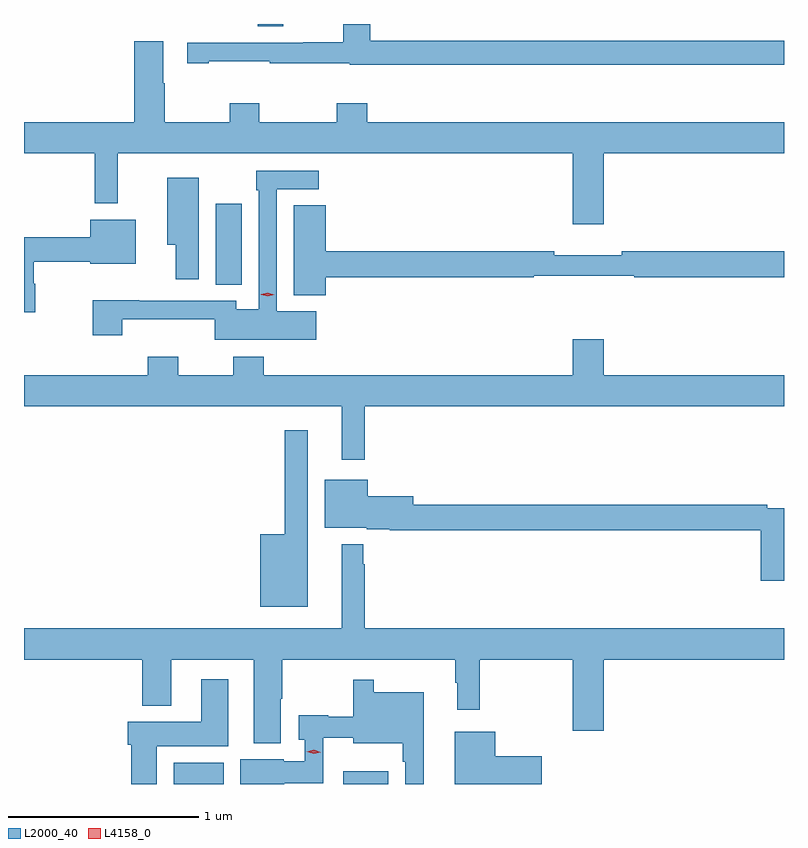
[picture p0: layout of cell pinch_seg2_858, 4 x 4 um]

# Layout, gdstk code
import gdstk
lib = gdstk.Library(unit=1e-6, precision=1e-09)
def R(c, l, rs):  # rectangles x0, y0, x1, y1
    for r in rs: c.add(gdstk.rectangle(r[:2], r[2:], *l))
def P(c, l, *ps):  # polygons
    for p in ps: c.add(gdstk.Polygon(p, *l))
L2000_40 = (2000, 40)
L4158_0 = (4158, 0)

pinch_seg2_858 = lib.new_cell('pinch_seg2_858')
R(pinch_seg2_858, L2000_40, [(486.584,601.693,486.847,601.804), (487.478,601.693,487.714,601.759), (486.806,604.321,486.943,604.747), (487.028,605.68,487.162,605.693)])
P(pinch_seg2_858, L2000_40, [(489.797,605.606),(487.619,605.606),(487.619,605.693),(487.476,605.693),(487.476,605.596),(487.266,605.596),(487.266,605.595),(486.657,605.595),(486.657,605.487),(486.769,605.487),(486.769,605.497),(487.091,605.497),(487.091,605.487),(487.512,605.487),(487.512,605.478),(489.797,605.478)],
  [(488.848,605.012),(489.797,605.012),(489.797,605.176),(487.604,605.176),(487.604,605.275),(487.444,605.275),(487.444,605.176),(487.035,605.176),(487.035,605.275),(486.88,605.275),(486.88,605.176),(486.537,605.176),(486.537,605.381),(486.529,605.381),(486.529,605.602),(486.377,605.602),(486.377,605.176),(485.797,605.176),(485.797,605.012),(486.169,605.012),(486.169,604.749),(486.29,604.749),(486.29,605.012),(488.684,605.012),(488.684,604.638),(488.848,604.638)],
  [(487.336,604.18),(487.128,604.18),(487.128,604.824),(487.348,604.824),(487.348,604.92),(487.02,604.92),(487.02,604.817),(487.032,604.817),(487.032,604.192),(486.913,604.192),(486.913,604.236),(486.403,604.236),(486.403,604.238),(486.16,604.238),(486.16,604.056),(486.315,604.056),(486.315,604.139),(486.8,604.139),(486.8,604.031),(487.336,604.031)],
  [(486.718,604.885),(486.551,604.885),(486.551,604.532),(486.596,604.532),(486.596,604.35),(486.718,604.35)],
  [(487.384,604.36),(488.48,604.36),(488.48,604.368),(489.009,604.368),(489.009,604.36),(489.797,604.36),(489.797,604.496),(488.944,604.496),(488.944,604.477),(488.588,604.477),(488.588,604.496),(487.384,604.496),(487.384,604.739),(487.217,604.739),(487.217,604.265),(487.384,604.265)],
  [(485.856,604.326),(485.848,604.326),(485.848,604.441),(486.146,604.441),(486.146,604.43),(486.385,604.43),(486.385,604.663),(486.146,604.663),(486.146,604.57),(485.797,604.57),(485.797,604.176),(485.856,604.176)],
  [(487.591,603.68),(489.797,603.68),(489.797,603.844),(488.848,603.844),(488.848,604.033),(488.684,604.033),(488.684,603.844),(487.058,603.844),(487.058,603.943),(486.898,603.943),(486.898,603.844),(486.609,603.844),(486.609,603.943),(486.449,603.943),(486.449,603.844),(485.797,603.844),(485.797,603.68),(487.469,603.68),(487.469,603.399),(487.591,603.399)],
  [(487.291,603.556),(487.17,603.556),(487.17,603.007),(487.04,603.007),(487.04,602.627),(487.291,602.627)],
  [(489.797,603.144),(489.71,603.144),(489.71,603.164),(487.846,603.164),(487.846,603.207),(487.606,603.207),(487.606,603.295),(487.379,603.295),(487.379,603.041),(487.602,603.041),(487.602,603.035),(487.721,603.035),(487.721,603.028),(489.674,603.028),(489.674,602.763),(489.797,602.763)],
  [(487.591,602.849),(487.583,602.849),(487.583,602.956),(487.469,602.956),(487.469,602.512),(485.797,602.512),(485.797,602.348),(486.419,602.348),(486.419,602.105),(486.571,602.105),(486.571,602.348),(487.007,602.348),(487.007,601.907),(487.147,601.907),(487.147,602.143),(487.155,602.143),(487.155,602.348),(488.067,602.348),(488.067,602.225),(488.078,602.225),(488.078,602.085),(488.195,602.085),(488.195,602.348),(488.684,602.348),(488.684,601.974),(488.848,601.974),(488.848,602.348),(489.797,602.348),(489.797,602.512),(487.591,602.512)],
  [(486.496,601.892),(486.871,601.892),(486.871,602.245),(486.731,602.245),(486.731,602.02),(486.344,602.02),(486.344,601.899),(486.362,601.899),(486.362,601.693),(486.496,601.693)],
  [(487.168,601.696),(487.371,601.696),(487.371,601.937),(487.529,601.937),(487.529,601.907),(487.791,601.907),(487.791,601.811),(487.803,601.811),(487.803,601.693),(487.9,601.693),(487.9,602.176),(487.639,602.176),(487.639,602.242),(487.529,602.242),(487.529,602.047),(487.398,602.047),(487.398,602.055),(487.244,602.055),(487.244,601.925),(487.275,601.925),(487.275,601.812),(487.164,601.812),(487.164,601.822),(486.935,601.822),(486.935,601.693),(487.168,601.693)],
  [(488.521,601.838),(488.278,601.838),(488.278,601.969),(488.063,601.969),(488.063,601.693),(488.521,601.693)])
P(pinch_seg2_858, L4158_0, [(487.079,604.259),(487.045,604.269),(487.044,604.27),(487.045,604.27),(487.079,604.279),(487.114,604.268),(487.114,604.268),(487.114,604.268)],
  [(487.321,601.852),(487.286,601.863),(487.286,601.864),(487.286,601.864),(487.322,601.872),(487.358,601.861),(487.358,601.861),(487.358,601.861)])

lib.write_gds('pinch_seg2_858.gds')
